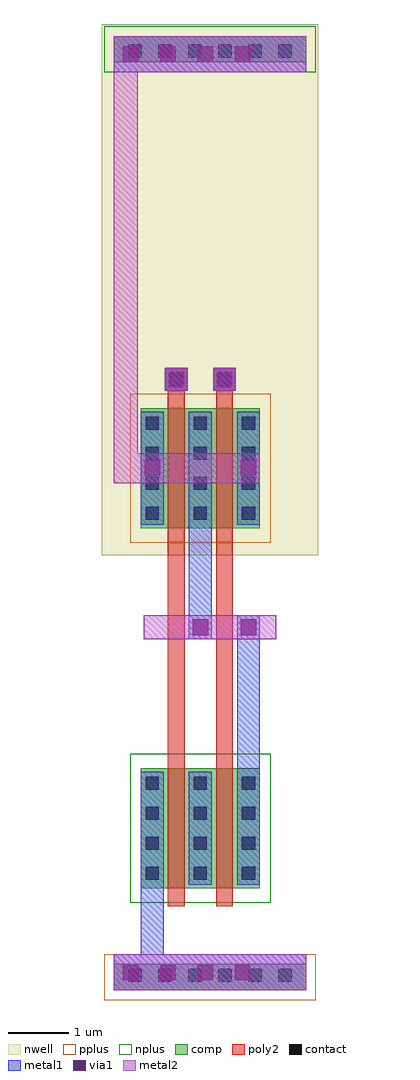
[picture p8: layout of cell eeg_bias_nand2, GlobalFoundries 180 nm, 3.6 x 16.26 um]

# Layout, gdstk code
import gdstk
lib = gdstk.Library(unit=1e-6, precision=1e-09)
def R(c, l, rs):  # rectangles x0, y0, x1, y1
    for r in rs: c.add(gdstk.rectangle(r[:2], r[2:], *l))
def A(c, l, x, y, w, h, nx, ny, dx, dy):  # array of equal rectangles
    R(c, l, [(x+i*dx, y+j*dy, x+i*dx+w, y+j*dy+h) for i in range(nx) for j in range(ny)])
nwell = (21, 0)
comp = (22, 0)
poly2 = (30, 0)
pplus = (31, 0)
nplus = (32, 0)
contact = (33, 0)
metal1 = (34, 0)
via1 = (35, 0)
metal2 = (36, 0)

eeg_bias_nand2 = lib.new_cell('eeg_bias_nand2')
R(eeg_bias_nand2, nwell, [(-0.2,7.25,3.4,16.1)])
R(eeg_bias_nand2, comp, [(0,0,3.2,0.44), (0.45,1.7,2.43,3.7), (0.45,7.7,2.43,9.7), (0,15.46,3.2,15.9)])
R(eeg_bias_nand2, poly2, [(0.9,1.4,1.18,7.7), (1.7,1.4,1.98,7.7), (0.9,7.4,1.18,10.36), (1.7,7.4,1.98,10.36), (0.86,10,1.22,10.36), (1.66,10,2.02,10.36)])
R(eeg_bias_nand2, pplus, [(-0.16,-0.16,3.36,0.6), (0.27,7.46,2.61,9.94)])
R(eeg_bias_nand2, nplus, [(0.27,1.46,2.61,3.94), (-0.16,15.3,3.36,16.06)])
A(eeg_bias_nand2, contact, 0.24, 0.14, 0.22, 0.22, 6, 2, 0.5, 15.4)
A(eeg_bias_nand2, contact, 0.53, 1.84, 0.22, 0.22, 3, 4, 0.8, 0.5)
A(eeg_bias_nand2, contact, 0.53, 7.84, 0.22, 0.22, 3, 4, 0.8, 0.5)
R(eeg_bias_nand2, contact, [(0.93,10.07,1.15,10.29), (1.73,10.07,1.95,10.29)])
R(eeg_bias_nand2, metal1, [(0,0,3.2,0.6), (0,0,3.2,0.44), (0.45,0.3,0.83,3.64), (1.25,1.76,1.63,3.64), (2.05,1.76,2.43,6.25), (1.25,5.85,1.63,9.64), (0.45,7.76,0.83,9.64), (2.05,7.76,2.43,9.64), (0.85,9.99,1.23,10.37), (1.65,9.99,2.03,10.37), (0,15.3,3.2,15.9), (0,15.46,3.2,15.9)])
A(eeg_bias_nand2, via1, 0.15, 0.17, 0.26, 0.26, 4, 2, 0.62, 15.3)
R(eeg_bias_nand2, via1, [(1.31,5.92,1.57,6.18), (2.11,5.92,2.37,6.18), (0.51,8.57,0.77,8.83), (2.11,8.57,2.37,8.83), (0.91,10.05,1.17,10.31), (1.71,10.05,1.97,10.31)])
R(eeg_bias_nand2, metal2, [(0,0,3.2,0.6), (0.5,5.85,2.7,6.25), (0,8.45,2.43,8.95), (0,8.45,0.4,15.3), (0.85,9.99,1.23,10.37), (1.65,9.99,2.03,10.37), (0,15.3,3.2,15.9)])

lib.write_gds('eeg_bias_nand2.gds')
